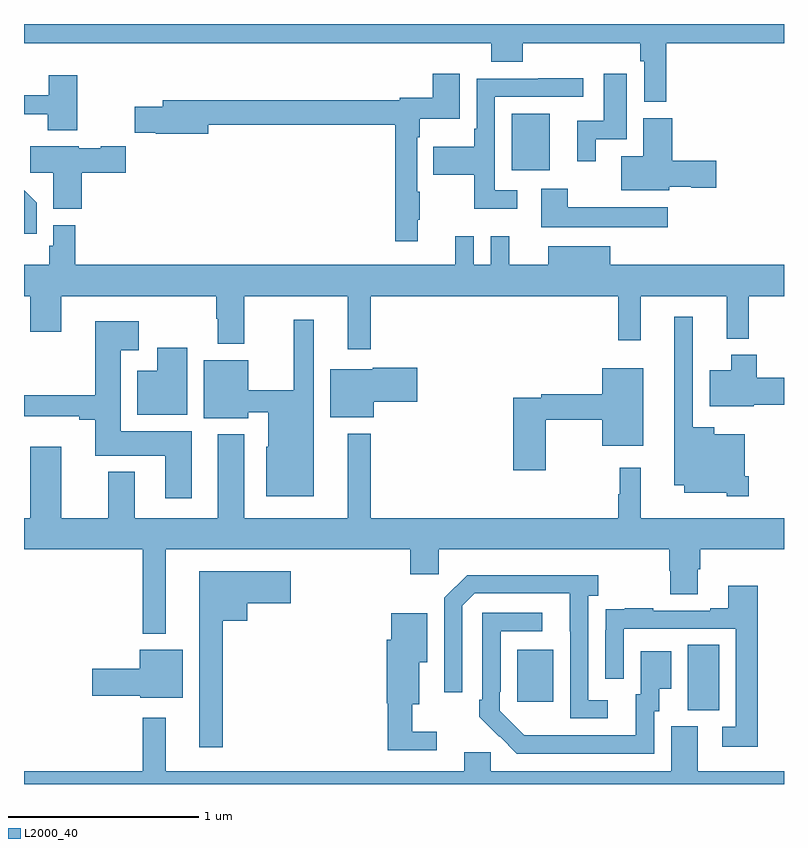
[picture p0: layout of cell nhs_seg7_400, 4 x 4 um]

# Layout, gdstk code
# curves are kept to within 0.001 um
import gdstk
lib = gdstk.Library(unit=1e-6, precision=1e-09)
def R(c, l, rs):  # rectangles x0, y0, x1, y1
    for r in rs: c.add(gdstk.rectangle(r[:2], r[2:], *l))
def P(c, l, *ps):  # polygons
    for p in ps: c.add(gdstk.Polygon(p, *l))
L2000_40 = (2000, 40)

nhs_seg7_400 = lib.new_cell('nhs_seg7_400')
R(nhs_seg7_400, L2000_40, [(144.494,1046.389,144.658,1046.732), (143.597,1046.433,143.785,1046.707), (143.567,1049.231,143.767,1049.527)])
P(nhs_seg7_400, L2000_40, [(144.38,1049.9),(145,1049.9),(145,1050),(141,1050),(141,1049.9),(143.459,1049.9),(143.459,1049.801),(143.624,1049.801),(143.624,1049.9),(144.244,1049.9),(144.244,1049.804),(144.264,1049.804),(144.264,1049.592),(144.38,1049.592)],
  [(143.072,1048.969),(143.083,1048.969),(143.083,1049.117),(143.07,1049.117),(143.07,1049.405),(143.083,1049.405),(143.083,1049.501),(143.293,1049.501),(143.293,1049.737),(143.15,1049.737),(143.15,1049.611),(142.977,1049.611),(142.977,1049.599),(141.731,1049.599),(141.731,1049.565),(141.582,1049.565),(141.582,1049.427),(141.694,1049.427),(141.694,1049.423),(141.97,1049.423),(141.97,1049.47),(142.954,1049.47),(142.954,1048.857),(143.072,1048.857)],
  [(144.01,1049.394),(144.172,1049.394),(144.172,1049.737),(144.05,1049.737),(144.05,1049.49),(143.912,1049.49),(143.912,1049.277),(144.01,1049.277)],
  [(141.279,1049.731),(141.131,1049.731),(141.131,1049.625),(141,1049.625),(141,1049.526),(141.124,1049.526),(141.124,1049.441),(141.279,1049.441)],
  [(143.596,1049.124),(143.478,1049.124),(143.478,1049.616),(143.944,1049.616),(143.944,1049.714),(143.707,1049.714),(143.707,1049.712),(143.382,1049.712),(143.382,1049.449),(143.37,1049.449),(143.37,1049.353),(143.155,1049.353),(143.155,1049.206),(143.37,1049.206),(143.37,1049.027),(143.596,1049.027)],
  [(144.396,1049.144),(144.513,1049.144),(144.513,1049.137),(144.643,1049.137),(144.643,1049.279),(144.413,1049.279),(144.413,1049.503),(144.26,1049.503),(144.26,1049.305),(144.143,1049.305),(144.143,1049.126),(144.396,1049.126)],
  [(141.305,1049.218),(141.535,1049.218),(141.535,1049.356),(141.405,1049.356),(141.405,1049.347),(141.288,1049.347),(141.288,1049.356),(141.034,1049.356),(141.034,1049.218),(141.155,1049.218),(141.155,1049.027),(141.305,1049.027)],
  [(144.388,1049.035),(143.863,1049.035),(143.863,1049.134),(143.723,1049.134),(143.723,1048.931),(144.388,1048.931)],
  [(141.068,1049.058),(141,1049.126),(141,1048.896),(141.068,1048.896)],
  [(142.825,1048.568),(144.127,1048.568),(144.127,1048.335),(144.245,1048.335),(144.245,1048.568),(144.698,1048.568),(144.698,1048.343),(144.815,1048.343),(144.815,1048.568),(145,1048.568),(145,1048.732),(144.085,1048.732),(144.085,1048.831),(143.759,1048.831),(143.759,1048.732),(143.555,1048.732),(143.555,1048.882),(143.457,1048.882),(143.457,1048.732),(143.367,1048.732),(143.367,1048.882),(143.27,1048.882),(143.27,1048.732),(141.269,1048.732),(141.269,1048.942),(141.153,1048.942),(141.153,1048.833),(141.133,1048.833),(141.133,1048.732),(141,1048.732),(141,1048.568),(141.032,1048.568),(141.032,1048.38),(141.196,1048.38),(141.196,1048.568),(142.012,1048.568),(142.012,1048.448),(142.019,1048.448),(142.019,1048.316),(142.159,1048.316),(142.159,1048.568),(142.703,1048.568),(142.703,1048.287),(142.825,1048.287)],
  [(144.815,1047.619),(144.793,1047.619),(144.793,1047.841),(144.634,1047.841),(144.634,1047.877),(144.519,1047.877),(144.519,1048.459),(144.422,1048.459),(144.422,1047.572),(144.476,1047.572),(144.476,1047.533),(144.699,1047.533),(144.699,1047.515),(144.815,1047.515)],
  [(142.525,1048.444),(142.421,1048.444),(142.421,1048.073),(142.18,1048.073),(142.18,1048.231),(141.947,1048.231),(141.947,1047.926),(142.18,1047.926),(142.18,1047.956),(142.286,1047.956),(142.286,1047.774),(142.274,1047.774),(142.274,1047.515),(142.525,1047.515)],
  [(141.883,1047.856),(141.508,1047.856),(141.508,1048.283),(141.604,1048.283),(141.604,1048.435),(141.374,1048.435),(141.374,1048.045),(141,1048.045),(141,1047.935),(141.29,1047.935),(141.29,1047.916),(141.374,1047.916),(141.374,1047.728),(141.743,1047.728),(141.743,1047.504),(141.883,1047.504)],
  [(141.859,1048.297),(141.701,1048.297),(141.701,1048.174),(141.596,1048.174),(141.596,1047.944),(141.859,1047.944)],
  [(144.84,1047.995),(145,1047.995),(145,1048.137),(144.857,1048.137),(144.857,1048.258),(144.722,1048.258),(144.722,1048.177),(144.608,1048.177),(144.608,1047.989),(144.84,1047.989)],
  [(142.84,1048.013),(143.071,1048.013),(143.071,1048.191),(142.836,1048.191),(142.836,1048.183),(142.613,1048.183),(142.613,1047.929),(142.84,1047.929)],
  [(143.746,1047.916),(144.044,1047.916),(144.044,1047.779),(144.259,1047.779),(144.259,1048.189),(144.044,1048.189),(144.044,1048.052),(143.722,1048.052),(143.722,1048.032),(143.576,1048.032),(143.576,1047.651),(143.746,1047.651)],
  [(141.745,1047.236),(143.033,1047.236),(143.033,1047.105),(143.184,1047.105),(143.184,1047.236),(144.395,1047.236),(144.395,1047.123),(144.4,1047.123),(144.4,1046.998),(144.547,1046.998),(144.547,1047.13),(144.56,1047.13),(144.56,1047.236),(145,1047.236),(145,1047.4),(144.246,1047.4),(144.246,1047.664),(144.135,1047.664),(144.135,1047.524),(144.127,1047.524),(144.127,1047.4),(142.825,1047.4),(142.825,1047.844),(142.703,1047.844),(142.703,1047.4),(142.159,1047.4),(142.159,1047.841),(142.019,1047.841),(142.019,1047.4),(141.583,1047.4),(141.583,1047.643),(141.443,1047.643),(141.443,1047.4),(141.196,1047.4),(141.196,1047.775),(141.032,1047.775),(141.032,1047.4),(141,1047.4),(141,1047.236),(141.624,1047.236),(141.624,1046.792),(141.745,1046.792)],
  [(142.045,1046.858),(142.174,1046.858),(142.174,1046.951),(142.405,1046.951),(142.405,1047.121),(141.923,1047.121),(141.923,1046.193),(142.045,1046.193)],
  [(144.073,1046.442),(143.97,1046.442),(143.97,1046.99),(144.022,1046.99),(144.022,1047.1),(143.332,1047.1),(143.211,1046.979),(143.211,1046.484),(143.307,1046.484),(143.307,1046.937),(143.373,1047.003),(143.873,1047.003),(143.874,1046.346),(144.073,1046.346)],
  [(144.863,1047.043),(144.707,1047.043),(144.707,1046.926),(144.611,1046.926),(144.611,1046.913),(144.311,1046.913),(144.311,1046.926),(144.163,1046.926),(144.163,1046.919),(144.061,1046.919),(144.061,1046.81),(144.06,1046.81),(144.06,1046.555),(144.156,1046.555),(144.156,1046.817),(144.747,1046.817),(144.747,1046.301),(144.675,1046.301),(144.675,1046.196),(144.863,1046.196)],
  [(144.318,1046.382),(144.343,1046.382),(144.343,1046.501),(144.406,1046.501),(144.406,1046.698),(144.245,1046.698),(144.245,1046.472),(144.221,1046.472),(144.221,1046.256),(143.634,1046.257),(143.505,1046.385),(143.505,1046.485),(143.508,1046.485),(143.508,1046.805),(143.728,1046.805),(143.728,1046.901),(143.412,1046.901),(143.412,1046.443),(143.397,1046.443),(143.397,1046.355),(143.594,1046.16),(144.318,1046.16)],
  [(143.173,1046.275),(143.044,1046.275),(143.044,1046.42),(143.08,1046.42),(143.08,1046.642),(143.122,1046.642),(143.122,1046.899),(142.934,1046.899),(142.934,1046.76),(142.91,1046.76),(142.91,1046.424),(142.915,1046.424),(142.915,1046.178),(143.173,1046.178)],
  [(141.835,1046.707),(141.608,1046.707),(141.608,1046.606),(141.36,1046.606),(141.36,1046.464),(141.612,1046.464),(141.612,1046.453),(141.835,1046.453)],
  [(145,1046.068),(144.547,1046.068),(144.547,1046.304),(144.407,1046.304),(144.407,1046.068),(143.457,1046.068),(143.457,1046.166),(143.318,1046.166),(143.318,1046.068),(141.745,1046.068),(141.745,1046.35),(141.624,1046.35),(141.624,1046.068),(141,1046.068),(141,1046),(145,1046)])

lib.write_gds('nhs_seg7_400.gds')
